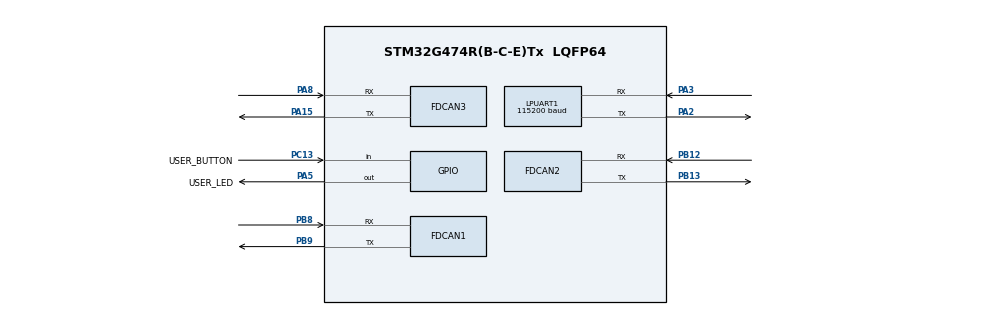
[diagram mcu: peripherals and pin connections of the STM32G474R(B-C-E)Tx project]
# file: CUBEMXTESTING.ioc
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FDCAN1.AutoRetransmission=ENABLE
FDCAN1.CalculateBaudRateNominal=1000000
FDCAN1.CalculateTimeBitNominal=1000
FDCAN1.CalculateTimeQuantumNominal=6.25
FDCAN1.DataPrescaler=8
FDCAN1.DataSyncJumpWidth=16
FDCAN1.DataTimeSeg1=14
FDCAN1.DataTimeSeg2=5
FDCAN1.ExtFiltersNbr=2
FDCAN1.Mode=FDCAN_MODE_INTERNAL_LOOPBACK
FDCAN1.NominalPrescaler=1
FDCAN1.NominalSyncJumpWidth=16
FDCAN1.NominalTimeSeg1=119
FDCAN1.NominalTimeSeg2=40
FDCAN1.ProtocolException=ENABLE
FDCAN2.AutoRetransmission=ENABLE
FDCAN2.CalculateBaudRateNominal=1000000
FDCAN2.CalculateTimeBitNominal=1000
FDCAN2.CalculateTimeQuantumNominal=6.25
FDCAN2.DataPrescaler=8
FDCAN2.DataSyncJumpWidth=16
FDCAN2.DataTimeSeg1=14
FDCAN2.DataTimeSeg2=5
FDCAN2.ExtFiltersNbr=2
FDCAN2.Mode=FDCAN_MODE_INTERNAL_LOOPBACK
FDCAN2.NominalPrescaler=1
FDCAN2.NominalSyncJumpWidth=16
FDCAN2.NominalTimeSeg1=119
FDCAN2.NominalTimeSeg2=40
FDCAN2.ProtocolException=ENABLE
FDCAN3.CalculateBaudRateNominal=3333333
FDCAN3.CalculateTimeBitNominal=300
FDCAN3.CalculateTimeQuantumNominal=100.0
FDCAN3.Mode=FDCAN_MODE_INTERNAL_LOOPBACK
LPUART1.BaudRate=115200
Mcu.Family=STM32G4
Mcu.Name=STM32G474R(B-C-E)Tx
Mcu.Package=LQFP64
NVIC.FDCAN1_IT0_IRQn=true\:0\:0\:false\:false\:true\:true\:true\:true
NVIC.FDCAN2_IT0_IRQn=true\:0\:0\:false\:false\:true\:true\:true\:true
NVIC.FDCAN3_IT0_IRQn=true\:0\:0\:false\:false\:true\:true\:true\:true
NVIC.LPUART1_IRQn=true\:0\:0\:false\:false\:true\:true\:true\:true
NVIC.PriorityGroup=NVIC_PRIORITYGROUP_4
NVIC.TIM5_IRQn=true\:0\:0\:false\:false\:true\:true\:true\:true
PA13.Mode=Trace_Asynchronous_SW
PA13.Signal=SYS_JTMS-SWDIO
PA14.Mode=Trace_Asynchronous_SW
PA14.Signal=SYS_JTCK-SWCLK
PA15.Mode=FDCAN_Activate
PA15.Signal=FDCAN3_TX
PA2.Mode=Asynchronous
PA2.Signal=LPUART1_TX
PA3.Mode=Asynchronous
PA3.Signal=LPUART1_RX
PA5.GPIO_Label=USER_LED
PA5.Signal=GPIO_Output
PA8.Mode=FDCAN_Activate
PA8.Signal=FDCAN3_RX
PB12.Mode=FDCAN_Activate
PB12.Signal=FDCAN2_RX
PB13.Mode=FDCAN_Activate
PB13.Signal=FDCAN2_TX
PB3.Mode=Trace_Asynchronous_SW
PB3.Signal=SYS_JTDO-SWO
PB8-BOOT0.Mode=FDCAN_Activate
PB8-BOOT0.Signal=FDCAN1_RX
PB9.Mode=FDCAN_Activate
PB9.Signal=FDCAN1_TX
PC13.GPIO_Label=USER_BUTTON
PC13.Signal=GPIO_Input
ProjectManager.HeapSize=0x200
ProjectManager.StackSize=0x400
ProjectManager.TargetToolchain=CMake
RCC.ADC12Freq_Value=160000000
RCC.ADC345Freq_Value=160000000
RCC.AHBFreq_Value=160000000
RCC.APB1Freq_Value=160000000
RCC.APB1TimFreq_Value=160000000
RCC.APB2Freq_Value=160000000
RCC.APB2TimFreq_Value=160000000
RCC.CortexFreq_Value=160000000
RCC.EXTERNAL_CLOCK_VALUE=12288000
RCC.HCLKFreq_Value=160000000
RCC.HSE_VALUE=16000000
RCC.HSI48_VALUE=48000000
RCC.HSI_VALUE=16000000
RCC.LSE_VALUE=32768
RCC.PLLN=20
RCC.PLLQ=RCC_PLLQ_DIV4
RCC.SYSCLKFreq_VALUE=160000000
RCC.SYSCLKSource=RCC_SYSCLKSOURCE_PLLCLK
RCC.USBFreq_Value=80000000
RCC.VCOOutputFreq_Value=320000000
TIM5.Dithering=Disable
TIM5.PeriodNoDither=499
TIM5.Prescaler=159
VP_SYS_VS_DBSignals.Mode=DisableDeadBatterySignals
VP_TIM5_VS_ClockSourceINT.Mode=Internal
board=custom

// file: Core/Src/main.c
/* USER CODE BEGIN Header */
/**
 ******************************************************************************
 * @file           : main.c
 * @brief          : Main program body
 ******************************************************************************
 * @attention
 *
 * Copyright (c) 2026 STMicroelectronics.
 * All rights reserved.
 *
 * This software is licensed under terms that can be found in the LICENSE file
 * in the root directory of this software component.
 * If no LICENSE file comes with this software, it is provided AS-IS.
 *
 ******************************************************************************
 */
/* USER CODE END Header */
#include "main.h"
#include "fdcan.h"
#include "usart.h"
#include "tim.h"
#include "gpio.h"

/* USER CODE BEGIN Includes */
#include <inttypes.h>

#include "CANdler.h"
#include "CubeCAN.h"
#include "CubeVCP.h"
#include "GRCAN_BUS_ID.h"
#include "GRCAN_NODE_ID.h"
#include "Logomatic.h"
#include "Loop.h"
#include "tim.h"
/* USER CODE END Includes */

/* USER CODE BEGIN PV */
CubeCAN_Handle *primaryHandle = NULL;
CubeCAN_Handle *dataHandle = NULL;
CubeCAN_Handle *chargerHandle = NULL;
/* USER CODE END PV */

void SystemClock_Config(void);

int main(void)
{

  /* MCU Configuration--------------------------------------------------------*/

  /* Reset of all peripherals, Initializes the Flash interface and the Systick. */
  HAL_Init();

  /* Configure the system clock */
  SystemClock_Config();

  /* USER CODE BEGIN SysInit */
	Logomatic_SetLogLevel(LogLevel_Debug);
  /* USER CODE END SysInit */

  /* Initialize all configured peripherals */
  MX_GPIO_Init();
  MX_FDCAN1_Init();
  MX_FDCAN2_Init();
  MX_TIM5_Init();
  MX_FDCAN3_Init();
  MX_LPUART1_UART_Init();
  /* USER CODE BEGIN 2 */
	CubeCAN_Config primaryCanConfig = {.rx_callback = CANdler_Callback, .context.busid_user_context = GRCAN_BUS_PRIMARY, .sending_node_id = GRCAN_Debugger};
	CubeCAN_Config dataCanConfig = {.rx_callback = CANdler_Callback, .context.busid_user_context = GRCAN_BUS_DATA, .sending_node_id = GRCAN_Debugger};
	CubeCAN_Config chargerCanConfig = {.rx_callback = CANdler_Callback, .context.busid_user_context = GRCAN_BUS_CHARGER, .sending_node_id = GRCAN_Debugger};

	primaryHandle = CubeCAN_Entrance(&hfdcan1, &primaryCanConfig);
	if (primaryHandle == NULL) {
		LOGOMATIC_CRITICAL("Failed to initialize primary CAN handle\n");
		Error_Handler();
	}

	dataHandle = CubeCAN_Entrance(&hfdcan2, &dataCanConfig);
	if (dataHandle == NULL) {
		LOGOMATIC_CRITICAL("Failed to initialize data CAN handle\n");
		Error_Handler();
	}

	chargerHandle = CubeCAN_Entrance(&hfdcan3, &chargerCanConfig);
	if (chargerHandle == NULL) {
		LOGOMATIC_CRITICAL("Failed to initialize charger CAN handle\n");
		Error_Handler();
	}

	LOGOMATIC_INFO("Hello World!\n");
	CubeVCP_Setup(&hlpuart1);
	CubeVCP_EnableRx(CANdler_VCP_Callback);
	CubeVCP_SendString("Hello World!\n", sizeof("Hello World!\n") - 1);
  /* USER CODE END 2 */

  /* Infinite loop */
	while (1) {

    /* USER CODE BEGIN 3 */
		MainLoop();
		HAL_Delay(100);
	}
  /* USER CODE END 3 */
}

void SystemClock_Config(void)
{
  LL_FLASH_SetLatency(LL_FLASH_LATENCY_4);
  while(LL_FLASH_GetLatency() != LL_FLASH_LATENCY_4)
  {
  }
  LL_PWR_EnableRange1BoostMode();
  LL_RCC_HSI_Enable();
   /* Wait till HSI is ready */
  while(LL_RCC_HSI_IsReady() != 1)
  {
  }

  LL_RCC_HSI_SetCalibTrimming(64);
  LL_RCC_PLL_ConfigDomain_SYS(LL_RCC_PLLSOURCE_HSI, LL_RCC_PLLM_DIV_1, 20, LL_RCC_PLLR_DIV_2);
  LL_RCC_PLL_EnableDomain_SYS();
  LL_RCC_PLL_Enable();
   /* Wait till PLL is ready */
  while(LL_RCC_PLL_IsReady() != 1)
  {
  }

  LL_RCC_SetSysClkSource(LL_RCC_SYS_CLKSOURCE_PLL);
  LL_RCC_SetAHBPrescaler(LL_RCC_SYSCLK_DIV_2);
   /* Wait till System clock is ready */
  while(LL_RCC_GetSysClkSource() != LL_RCC_SYS_CLKSOURCE_STATUS_PLL)
  {
  }

  /* Insure 1us transition state at intermediate medium speed clock*/
  for (__IO uint32_t i = (170 >> 1); i !=0; i--);

  /* Set AHB prescaler*/
  LL_RCC_SetAHBPrescaler(LL_RCC_SYSCLK_DIV_1);
  LL_RCC_SetAPB1Prescaler(LL_RCC_APB1_DIV_1);
  LL_RCC_SetAPB2Prescaler(LL_RCC_APB2_DIV_1);
  LL_SetSystemCoreClock(160000000);

   /* Update the time base */
  if (HAL_InitTick (TICK_INT_PRIORITY) != HAL_OK)
  {
    Error_Handler();
  }
}

/* USER CODE BEGIN 4 */

/**
 * @brief Route the CubeMX-generated CAN service timer callback to the CAN runtime.
 *
 * CAN_TIMER_HANDLE is generated by can_cfg.h from CAN_TIMER_INDEX.
 */
void HAL_TIM_PeriodElapsedCallback(TIM_HandleTypeDef *htim)
{
	UNUSED(htim);
	CubeCAN_Tick();
}

/* USER CODE END 4 */

void Error_Handler(void)
{
	__disable_irq();
	while (1) {}
}
#ifdef USE_FULL_ASSERT
/**
  * @brief  Reports the name of the source file and the source line number
  *         where the assert_param error has occurred.
  * @param  file: pointer to the source file name
  * @param  line: assert_param error line source number
  * @retval None
  */
void assert_failed(uint8_t *file, uint32_t line)
{
  /* USER CODE BEGIN 6 */
	LOGOMATIC_CRITICAL("Assert failed! File %s on line %" PRIu32 "\n", file, line);
  /* USER CODE END 6 */
}
#endif /* USE_FULL_ASSERT */
